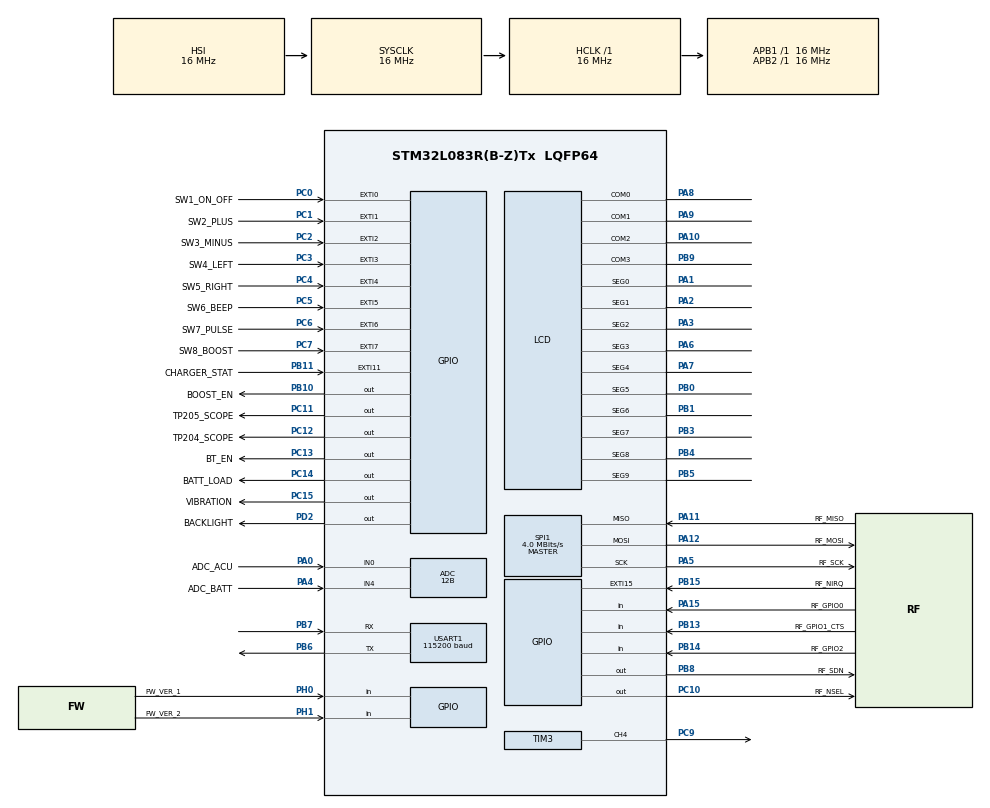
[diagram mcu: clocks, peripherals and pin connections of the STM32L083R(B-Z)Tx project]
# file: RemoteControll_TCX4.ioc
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ADC.ClockPrescaler=ADC_CLOCK_SYNC_PCLK_DIV4
ADC.Resolution=ADC_RESOLUTION_12B
ADC.SamplingTime=ADC_SAMPLETIME_79CYCLES_5
CRC.InputDataInversionMode=CRC_INPUTDATA_INVERSION_BYTE
Dma.ADC.0.Direction=DMA_PERIPH_TO_MEMORY
Dma.ADC.0.Instance=DMA1_Channel1
Dma.ADC.0.MemDataAlignment=DMA_MDATAALIGN_HALFWORD
Dma.ADC.0.MemInc=DMA_MINC_ENABLE
Dma.ADC.0.Mode=DMA_NORMAL
Dma.ADC.0.PeriphDataAlignment=DMA_PDATAALIGN_HALFWORD
Dma.ADC.0.PeriphInc=DMA_PINC_DISABLE
Dma.ADC.0.Priority=DMA_PRIORITY_LOW
Dma.Request0=ADC
Dma.Request1=USART1_RX
Dma.USART1_RX.1.Direction=DMA_PERIPH_TO_MEMORY
Dma.USART1_RX.1.Instance=DMA1_Channel3
Dma.USART1_RX.1.MemDataAlignment=DMA_MDATAALIGN_BYTE
Dma.USART1_RX.1.MemInc=DMA_MINC_ENABLE
Dma.USART1_RX.1.Mode=DMA_CIRCULAR
Dma.USART1_RX.1.PeriphDataAlignment=DMA_PDATAALIGN_BYTE
Dma.USART1_RX.1.PeriphInc=DMA_PINC_DISABLE
Dma.USART1_RX.1.Priority=DMA_PRIORITY_LOW
FREERTOS.Queues01=QueueCore,20,tDataQueue,0,Static,QueueCoreBuffer,QueueCoreControlBlock;QueueRF,20,tDataQueue,0,Static,QueueRFBuffer,QueueRFControlBlock;QueueDisplay,20,tDataQueue,0,Static,QueueDisplayBuffer,QueueDisplayControlBlock
FREERTOS.Tasks01=TaskCore,0,300,StartTaskCore,Default,NULL,Static,TaskCoreBuffer,TaskCoreControlBlock;TaskRF,0,300,StartTaskRF,Default,NULL,Static,TaskRFBuffer,TaskRFControlBlock;TaskDisplay,0,300,StartTaskDisplay,Default,NULL,Static,TaskDisplayBuffer,TaskDisplayControlBlock
FREERTOS.Timers01=TimerLCD,CallbackLCD,osTimerPeriodic,Default,NULL,Static,TimerLCDControlBlock;TimerBacklight,CallbackBacklight,osTimerOnce,As weak,NULL,Static,TimerBacklightControlBlock;TimerStopTX,CallbackStopTX,osTimerOnce,As weak,NULL,Static,TimerStopTXControlBlock;TimerMeasureBatt,CallbackStartMeasureBatt,osTimerOnce,As weak,NULL,Static,TimerMeasureBattControlBlock;TimerLockShock,CallbackLockShock,osTimerOnce,As weak,NULL,Static,TimerLockShockControlBlock;TimerBeep,CallbackBeepEnd,osTimerOnce,As weak,NULL,Static,TimerBeepControlBlock;TimerVibratDuringShock,CallbackVibrationDuringShock,osTimerOnce,As weak,NULL,Static,TimerVibratDuringShockControlBlock;TimerCharger,CallbackChargerTimeout,osTimerOnce,As weak,NULL,Static,TimerChargerControlBlock;TimerChargAnimation,CallbackChargeAnimation,osTimerPeriodic,As weak,NULL,Static,TimerChargAnimationControlBlock;TimerFactoryTest,CallbackFactoryTest,osTimerOnce,As weak,NULL,Static,TimerFactoryTestControlBlock;TimerUartCheck,CallbackUartCheck,osTimerOnce,As weak,NULL,Static,myTimer11ControlBlock;TimerRingHeartBeat,CallbackRingHB,osTimerOnce,As weak,NULL,Static,TimerRingHeartBeatControlBlock;TimerStopTxFromRing,CallbackStopTxFromRing,osTimerOnce,As weak,NULL,Static,TimerStopTxFromRingControlBlock;TimerUnpairring,CallbackUnpairRing,osTimerOnce,As weak,NULL,Static,TimerUnpairringControlBlock;Timer_AscendingMode,CallbackAscendingMode,osTimerOnce,As weak,NULL,Static,Timer_AscendingModeControlBlock;timerChargingCheck,CallbackChargerCheck,osTimerOnce,As weak,NULL,Static,timerChargingCheckControlBlock
FREERTOS.configCHECK_FOR_STACK_OVERFLOW=1
FREERTOS.configMINIMAL_STACK_SIZE=250
FREERTOS.configTIMER_QUEUE_LENGTH=25
FREERTOS.configTIMER_TASK_PRIORITY=6
FREERTOS.configTIMER_TASK_STACK_DEPTH=1024
FREERTOS.configTOTAL_HEAP_SIZE=1536
FREERTOS.configUSE_MALLOC_FAILED_HOOK=1
FREERTOS.configUSE_NEWLIB_REENTRANT=1
FREERTOS.configUSE_TICKLESS_IDLE=1
FREERTOS.configUSE_TIMERS=1
LCD.BlinkMode=LCD_BLINKMODE_OFF
LCD.Contrast=LCD_CONTRASTLEVEL_4
LCD.DeadTime=LCD_DEADTIME_1
LCD.HighDrive=LCD_HIGHDRIVE_1
LCD.Prescaler=LCD_PRESCALER_1
Mcu.Family=STM32L0
Mcu.Name=STM32L083R(B-Z)Tx
Mcu.Package=LQFP64
NVIC.DMA1_Channel1_IRQn=true\:3\:0\:false\:false\:true\:true\:false\:true\:true
NVIC.EXTI0_1_IRQn=true\:3\:0\:false\:false\:true\:true\:true\:true\:true
NVIC.EXTI2_3_IRQn=true\:3\:0\:false\:false\:true\:true\:true\:true\:true
NVIC.EXTI4_15_IRQn=true\:3\:0\:false\:false\:true\:true\:true\:true\:true
NVIC.RTC_IRQn=true\:3\:0\:false\:false\:true\:true\:true\:true\:true
NVIC.TIM22_IRQn=true\:3\:0\:false\:false\:true\:true\:true\:true\:true
NVIC.TIM6_DAC_IRQn=true\:3\:0\:false\:false\:true\:true\:true\:true\:true
NVIC.TIM7_IRQn=true\:3\:0\:false\:false\:true\:true\:true\:true\:true
PA0.GPIO_Label=ADC_ACU
PA0.Mode=IN0
PA0.Signal=ADC_IN0
PA1.Mode=SEG0
PA1.Signal=LCD_SEG0
PA10.Mode=1/4 Duty Cycle
PA10.Signal=LCD_COM2
PA11.GPIO_Label=RF_MISO
PA11.Mode=Full_Duplex_Master
PA11.Signal=SPI1_MISO
PA12.GPIO_Label=RF_MOSI
PA12.Mode=Full_Duplex_Master
PA12.Signal=SPI1_MOSI
PA13.Mode=Serial_Wire
PA13.Signal=SYS_SWDIO
PA14.Mode=Serial_Wire
PA14.Signal=SYS_SWCLK
PA15.GPIO_Label=RF_GPIO0
PA15.GPIO_PuPd=GPIO_PULLUP
PA15.Signal=GPIO_Input
PA2.Mode=SEG1
PA2.Signal=LCD_SEG1
PA3.Mode=SEG2
PA3.Signal=LCD_SEG2
PA4.GPIO_Label=ADC_BATT
PA4.Mode=IN4
PA4.Signal=ADC_IN4
PA5.GPIO_Label=RF_SCK
PA5.Mode=Full_Duplex_Master
PA5.Signal=SPI1_SCK
PA6.Mode=SEG3
PA6.Signal=LCD_SEG3
PA7.Mode=SEG4
PA7.Signal=LCD_SEG4
PA8.Mode=1/4 Duty Cycle
PA8.Signal=LCD_COM0
PA9.Mode=1/4 Duty Cycle
PA9.Signal=LCD_COM1
PB0.Mode=SEG5
PB0.Signal=LCD_SEG5
PB1.Mode=SEG6
PB1.Signal=LCD_SEG6
PB10.GPIO_Label=BOOST_EN
PB10.Signal=GPIO_Output
PB11.GPIO_Label=CHARGER_STAT
PB11.GPIO_ModeDefaultEXTI=GPIO_MODE_IT_RISING_FALLING
PB11.GPIO_PuPd=GPIO_PULLUP
PB11.Signal=GPXTI11
PB13.GPIO_Label=RF_GPIO1_CTS
PB13.GPIO_PuPd=GPIO_PULLUP
PB13.Signal=GPIO_Input
PB14.GPIO_Label=RF_GPIO2
PB14.GPIO_PuPd=GPIO_PULLDOWN
PB14.Signal=GPIO_Input
PB15.GPIO_Label=RF_NIRQ
PB15.GPIO_ModeDefaultEXTI=GPIO_MODE_IT_FALLING
PB15.GPIO_PuPd=GPIO_PULLUP
PB15.Signal=GPXTI15
PB3.Mode=SEG7
PB3.Signal=LCD_SEG7
PB4.Mode=SEG8
PB4.Signal=LCD_SEG8
PB5.Mode=SEG9
PB5.Signal=LCD_SEG9
PB6.GPIO_PuPd=GPIO_NOPULL
PB6.Mode=Asynchronous
PB6.Signal=USART1_TX
PB7.GPIO_PuPd=GPIO_NOPULL
PB7.Mode=Asynchronous
PB7.Signal=USART1_RX
PB8.GPIO_Label=RF_SDN
PB8.GPIO_PuPd=GPIO_PULLDOWN
PB8.Signal=GPIO_Output
PB9.Mode=1/4 Duty Cycle
PB9.Signal=LCD_COM3
PC0.GPIO_Label=SW1_ON_OFF
PC0.GPIO_ModeDefaultEXTI=GPIO_MODE_IT_RISING_FALLING
PC0.GPIO_PuPd=GPIO_PULLUP
PC0.Signal=GPXTI0
PC1.GPIO_Label=SW2_PLUS
PC1.GPIO_ModeDefaultEXTI=GPIO_MODE_IT_RISING_FALLING
PC1.GPIO_PuPd=GPIO_PULLUP
PC1.Signal=GPXTI1
PC10.GPIO_Label=RF_NSEL
PC10.Signal=GPIO_Output
PC11.GPIO_Label=TP205_SCOPE
PC11.Signal=GPIO_Output
PC12.GPIO_Label=TP204_SCOPE
PC12.Signal=GPIO_Output
PC13.GPIO_Label=BT_EN
PC13.Signal=GPIO_Output
PC14-OSC32_IN.GPIO_Label=BATT_LOAD
PC14-OSC32_IN.Signal=GPIO_Output
PC15-OSC32_OUT.GPIO_Label=VIBRATION
PC15-OSC32_OUT.Signal=GPIO_Output
PC2.GPIO_Label=SW3_MINUS
PC2.GPIO_ModeDefaultEXTI=GPIO_MODE_IT_RISING_FALLING
PC2.GPIO_PuPd=GPIO_PULLUP
PC2.Signal=GPXTI2
PC3.GPIO_Label=SW4_LEFT
PC3.GPIO_ModeDefaultEXTI=GPIO_MODE_IT_RISING_FALLING
PC3.GPIO_PuPd=GPIO_PULLUP
PC3.Signal=GPXTI3
PC4.GPIO_Label=SW5_RIGHT
PC4.GPIO_ModeDefaultEXTI=GPIO_MODE_IT_RISING_FALLING
PC4.GPIO_PuPd=GPIO_PULLUP
PC4.Signal=GPXTI4
PC5.GPIO_Label=SW6_BEEP
PC5.GPIO_ModeDefaultEXTI=GPIO_MODE_IT_RISING_FALLING
PC5.GPIO_PuPd=GPIO_PULLUP
PC5.Signal=GPXTI5
PC6.GPIO_Label=SW7_PULSE
PC6.GPIO_ModeDefaultEXTI=GPIO_MODE_IT_RISING_FALLING
PC6.GPIO_PuPd=GPIO_PULLUP
PC6.Signal=GPXTI6
PC7.GPIO_Label=SW8_BOOST
PC7.GPIO_ModeDefaultEXTI=GPIO_MODE_IT_RISING_FALLING
PC7.GPIO_PuPd=GPIO_PULLUP
PC7.Signal=GPXTI7
PC9.Signal=S_TIM3_CH4
PD2.GPIO_Label=BACKLIGHT
PD2.Signal=GPIO_Output
PH0-OSC_IN.GPIO_Label=FW_VER_1
PH0-OSC_IN.Signal=GPIO_Input
PH1-OSC_OUT.GPIO_Label=FW_VER_2
PH1-OSC_OUT.Signal=GPIO_Input
ProjectManager.HeapSize=0x200
ProjectManager.StackSize=0x400
ProjectManager.TargetToolchain=STM32CubeIDE
RCC.AHBFreq_Value=16000000
RCC.APB1Freq_Value=16000000
RCC.APB1TimFreq_Value=16000000
RCC.APB2Freq_Value=16000000
RCC.APB2TimFreq_Value=16000000
RCC.HCLKFreq_Value=16000000
RCC.HSE_VALUE=8000000
RCC.HSI16_VALUE=16000000
RCC.HSI48_VALUE=48000000
RCC.HSI_VALUE=16000000
RCC.LSE_VALUE=32768
RCC.MSIClockRange=RCC_MSIRANGE_6
RCC.MSI_VALUE=4194000
RCC.PLLMUL=RCC_PLLMUL_4
RCC.SYSCLKFreq_VALUE=16000000
RCC.SYSCLKSource=RCC_SYSCLKSOURCE_HSI
RCC.VCOOutputFreq_Value=64000000
RTC.Alarm-Alarm\ A=RTC_ALARM_A
SH.S_TIM3_CH4.0=TIM3_CH4,PWM Generation4 CH4
SPI1.BaudRatePrescaler=SPI_BAUDRATEPRESCALER_4
SPI1.CalculateBaudRate=4.0 MBits/s
SPI1.Direction=SPI_DIRECTION_2LINES
SPI1.Mode=SPI_MODE_MASTER
SPI1.VirtualType=VM_MASTER
TIM22.Period=1
TIM22.Prescaler=16000
TIM3.Channel-PWM\ Generation4\ CH4=TIM_CHANNEL_4
TIM3.Period=1
TIM3.Prescaler=100
TIM3.Pulse-PWM\ Generation4\ CH4=3000
TIM6.Period=30
TIM6.Prescaler=16000
TIM7.Period=50
TIM7.Prescaler=16000
USART1.BaudRate=115200
USART1.VirtualMode-Asynchronous=VM_ASYNC
VP_ADC_TempSens_Input.Mode=IN-TempSens
VP_ADC_Vref_Input.Mode=IN-Vrefint
VP_CRC_VS_CRC.Mode=CRC_Activate
VP_FREERTOS_VS_CMSIS_V1.Mode=CMSIS_V1
VP_LCD_LCD_Bias.Mode=1/4 Bias
VP_RTC_VS_RTC_Activate.Mode=RTC_Enabled
VP_RTC_VS_RTC_Alarm_A_Intern.Mode=Alarm A
VP_RTC_VS_RTC_Calendar.Mode=RTC_Calendar
VP_TIM22_VS_ClockSourceINT.Mode=Internal
VP_TIM6_VS_ClockSourceINT.Mode=Enable_Timer
VP_TIM6_VS_OPM.Mode=OPM_bit
VP_TIM7_VS_ClockSourceINT.Mode=Enable_Timer
VP_WWDG_VS_WWDG.Mode=WWDG_Activate
WWDG.Counter=127
WWDG.EWIMode=WWDG_EWI_DISABLE
WWDG.Prescaler=WWDG_PRESCALER_8
WWDG.Window=127
board=custom

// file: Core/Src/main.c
/* USER CODE BEGIN Header */
/**
  ******************************************************************************
  * @file           : main.c
  * @brief          : Main program body
  ******************************************************************************
  * @attention
  *
  * <h2><center>&copy; Copyright (c) 2021 STMicroelectronics.
  * All rights reserved.</center></h2>
  *
  * This software component is licensed by ST under Ultimate Liberty license
  * SLA0044, the "License"; You may not use this file except in compliance with
  * the License. You may obtain a copy of the License at:
  *                             www.st.com/SLA0044
  *
  ******************************************************************************
  */
/* USER CODE END Header */
#include "main.h"
#include "cmsis_os.h"
#include "adc.h"
#include "crc.h"
#include "dma.h"
#include "lcd.h"
#include "rtc.h"
#include "spi.h"
#include "tim.h"
#include "usart.h"
#include "wwdg.h"
#include "gpio.h"

/* USER CODE BEGIN Includes */
#include "flash.h"
#include "sleepmgr.h"
#include "TaskCore.h"
#include "TaskRF.h"
#include "error_code.h"
#include "DynamicSleep.h"
/* USER CODE END Includes */

void SystemClock_Config(void);
void MX_FREERTOS_Init(void);
/* USER CODE BEGIN PFP */
extern osMessageQId QueueCoreHandle;
/* USER CODE END PFP */

/* USER CODE BEGIN 0 */

void osDelayWatchdog(uint32_t msDelay)
{
	uint32_t tempMod;
	uint32_t tempCount;

	tempMod=msDelay%10;
	tempCount=(uint32_t)(msDelay/10);

	for(uint32_t i=0;i<tempCount;i++)
	{
		osDelay(10);
		RefreshWatchDog();
	}

	osDelay(tempMod);
	RefreshWatchDog();
}

/**
 *
 * @param error
 */
void LogError(uint64_t error)
{

#if (RESET_WHEN_ERROR !=1 )
	taskDISABLE_INTERRUPTS();

	while(1)
	{
		RefreshWatchDog();
	}

#else
	HAL_RCC_DeInit();
	HAL_NVIC_SystemReset();
	while(1);	//pripadne to schodi WD
#endif

}

/**
 *
 */
bool mcuIsLocked(void)
{

#if DEBUG_PRETEND_MCU_IS_LOCKED == 1
	return true;

#else
	FLASH_OBProgramInitTypeDef flashTemp;

	HAL_FLASHEx_OBGetConfig(&flashTemp);
	if(flashTemp.RDPLevel != OB_RDP_LEVEL_0)
	{
		return true;
	}

	return false;
#endif

}

/* USER CODE END 0 */

int main(void)
{

  /* USER CODE BEGIN 1 */

#if (DEBUG_IN_STOP_MODE == 1)
	 LL_APB2_GRP1_EnableClock(LL_APB2_GRP1_PERIPH_DBGMCU);
	 DBGMCU->CR |= DBGMCU_CR_DBG_SLEEP | DBGMCU_CR_DBG_STOP | DBGMCU_CR_DBG_STANDBY;
	 DBGMCU->APB1FZ |= (DBGMCU_APB1_FZ_DBG_TIM2_STOP |
	 DBGMCU_APB1_FZ_DBG_TIM3_STOP) |
	 DBGMCU_APB1_FZ_DBG_TIM6_STOP |
	 DBGMCU_APB1_FZ_DBG_TIM7_STOP |
	 DBGMCU_APB1_FZ_DBG_RTC_STOP  |
	 DBGMCU_APB1_FZ_DBG_WWDG_STOP |
	 DBGMCU_APB1_FZ_DBG_IWDG_STOP |
	 DBGMCU_APB1_FZ_DBG_I2C1_STOP |
	 DBGMCU_APB1_FZ_DBG_I2C2_STOP |
	 DBGMCU_APB1_FZ_DBG_I2C3_STOP |
	DBGMCU_APB1_FZ_DBG_LPTIMER_STOP;

	DBGMCU->APB2FZ |= DBGMCU_APB2_FZ_DBG_TIM22_STOP | DBGMCU_APB2_FZ_DBG_TIM21_STOP;

#endif

	DS_Init();
	(void)DS_RegisterPeripher(DS_PERI_TYPE_TIM,DS_PERI_TIMER_PART_CNT,(uint32_t *)KEYBOARD_TIMER);
	(void)DS_RegisterPeripher(DS_PERI_TYPE_ADC,DS_PERI_ADC_ONGOING,(uint32_t *)SYSTEM_ADC);
	(void)DS_RegisterPeripher(DS_PERI_TYPE_TIM,DS_PERI_TIMER_PART_CNT,(uint32_t *)TIM22);
#if (KEYBOARD_SOUND == 1)
	(void)DS_RegisterPeripher(DS_PERI_TYPE_TIM,DS_PERI_TIMER_PART_PWM,(uint32_t *)TIM3);
#endif

	//DS_RegisterPeripher(DS_PERI_TYPE_TIM,DS_PERI_TIMER_PART_PWM,(uint32_t *)PWM_TIMER);

  /* USER CODE END 1 */

  /* MCU Configuration--------------------------------------------------------*/

  /* Reset of all peripherals, Initializes the Flash interface and the Systick. */
  HAL_Init();

  /* Configure the system clock */
  SystemClock_Config();

  /* Initialize all configured peripherals */
  MX_GPIO_Init();
  MX_DMA_Init();
  MX_ADC_Init();
  MX_CRC_Init();
  MX_LCD_Init();
  MX_SPI1_Init();
  MX_TIM7_Init();
  MX_WWDG_Init();
  MX_RTC_Init();
  MX_TIM6_Init();
  MX_TIM3_Init();
  MX_TIM22_Init();
  MX_USART1_UART_Init();
  /* USER CODE BEGIN 2 */

  FlashOB_Init();

  /* Systick turn of -we use a different timer*/
  SysTick->CTRL&=~ SysTick_CTRL_ENABLE_Msk;

  LL_GPIO_SetOutputPin(BOOST_EN_GPIO_Port,BOOST_EN_Pin);
  LL_GPIO_SetOutputPin(BACKLIGHT_GPIO_Port,BACKLIGHT_Pin);

  /* RF preruseni - zakazat*/
  EXTI_DisableIT_0_31(EXTI_LINE_15);
  /* od nabijecky zakazat */
  EXTI_DisableIT_0_31(EXTI_LINE_11);

  LL_GPIO_ResetOutputPin(BT_EN_GPIO_Port, BT_EN_Pin);
  LL_GPIO_ResetOutputPin(BACKLIGHT_GPIO_Port, BACKLIGHT_Pin);

  /* USER CODE END 2 */

  /* Call init function for freertos objects (in cmsis_os2.c) */
  MX_FREERTOS_Init();

  /* Start scheduler */
  osKernelStart();

  /* We should never get here as control is now taken by the scheduler */

  /* Infinite loop */
  while (1)
  {

  }
}

void SystemClock_Config(void)
{
  RCC_OscInitTypeDef RCC_OscInitStruct = {0};
  RCC_ClkInitTypeDef RCC_ClkInitStruct = {0};
  RCC_PeriphCLKInitTypeDef PeriphClkInit = {0};

  /** Configure the main internal regulator output voltage
  */
  __HAL_PWR_VOLTAGESCALING_CONFIG(PWR_REGULATOR_VOLTAGE_SCALE1);

  /** Initializes the RCC Oscillators according to the specified parameters
  * in the RCC_OscInitTypeDef structure.
  */
  RCC_OscInitStruct.OscillatorType = RCC_OSCILLATORTYPE_HSI|RCC_OSCILLATORTYPE_LSI;
  RCC_OscInitStruct.HSIState = RCC_HSI_ON;
  RCC_OscInitStruct.HSICalibrationValue = RCC_HSICALIBRATION_DEFAULT;
  RCC_OscInitStruct.LSIState = RCC_LSI_ON;
  RCC_OscInitStruct.PLL.PLLState = RCC_PLL_NONE;
  if (HAL_RCC_OscConfig(&RCC_OscInitStruct) != HAL_OK)
  {
    Error_Handler();
  }

  /** Initializes the CPU, AHB and APB buses clocks
  */
  RCC_ClkInitStruct.ClockType = RCC_CLOCKTYPE_HCLK|RCC_CLOCKTYPE_SYSCLK
                              |RCC_CLOCKTYPE_PCLK1|RCC_CLOCKTYPE_PCLK2;
  RCC_ClkInitStruct.SYSCLKSource = RCC_SYSCLKSOURCE_HSI;
  RCC_ClkInitStruct.AHBCLKDivider = RCC_SYSCLK_DIV1;
  RCC_ClkInitStruct.APB1CLKDivider = RCC_HCLK_DIV1;
  RCC_ClkInitStruct.APB2CLKDivider = RCC_HCLK_DIV1;

  if (HAL_RCC_ClockConfig(&RCC_ClkInitStruct, FLASH_LATENCY_0) != HAL_OK)
  {
    Error_Handler();
  }
  PeriphClkInit.PeriphClockSelection = RCC_PERIPHCLK_USART1|RCC_PERIPHCLK_RTC;
  PeriphClkInit.Usart1ClockSelection = RCC_USART1CLKSOURCE_PCLK2;
  PeriphClkInit.RTCClockSelection = RCC_RTCCLKSOURCE_LSI;
  if (HAL_RCCEx_PeriphCLKConfig(&PeriphClkInit) != HAL_OK)
  {
    Error_Handler();
  }
}

/* USER CODE BEGIN 4 */

/**
 *
 * @param GPIO_Pin
 */
void HAL_GPIO_EXTI_Callback(uint16_t GPIO_Pin)
{
	switch (GPIO_Pin)
	{
	case GPIO_PIN_0:
	case GPIO_PIN_1:
	case GPIO_PIN_2:
	case GPIO_PIN_3:
	case GPIO_PIN_4:
	case GPIO_PIN_5:
	case GPIO_PIN_6:
	case GPIO_PIN_7:
		CallbackButtonIRQ(false);
		break;
	case GPIO_PIN_15:
		CallBackRFIRQ();
		break;

	case CHARGER_STAT_Pin:
		CallbackChargerState();
		break;
	default:
		break;
	}
}

/**
 *
 * @param htim
 */
void HAL_TIM_PeriodElapsedCallback(TIM_HandleTypeDef *htim)
{
	tDataQueue sendData;
	sendData.pointer=NULL;
	signed portBASE_TYPE xHigherPriorityTaskWoken;
	xHigherPriorityTaskWoken=pdFALSE;

	if (htim->Instance == TIM2)
	{

	}
	else if(htim->Instance == TIM3)
	{

	}
	else if(htim->Instance == TIM6)
	{
		sendData.address = ADDR_TO_CORE_WATCHDOG_ACTIONS;
		sendData.data = WD_TIME_FOR_WATCHDOG;

		if(xQueueSendFromISR(QueueCoreHandle,&sendData,&xHigherPriorityTaskWoken)!=pdPASS)
		{
			LogError(1289);
		}
		portYIELD_FROM_ISR(xHigherPriorityTaskWoken);
	}
	else if(htim->Instance == TIM7)
	{
		KeyboardTimElapsed(htim);
	}
	else if(htim->Instance == TIM22)
	{
		CallbackChargerEdgeElapsed();
	}
}

/*
 *
 */
void MallocFailed(void)
{
	LogError(5123);
}
/* USER CODE END 4 */

void Error_Handler(void)
{
  /* USER CODE BEGIN Error_Handler_Debug */
  /* User can add his own implementation to report the HAL error return state */
	LogError(65315321);

  /* USER CODE END Error_Handler_Debug */
}

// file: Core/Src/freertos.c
/* USER CODE BEGIN Header */
/**
  ******************************************************************************
  * File Name          : freertos.c
  * Description        : Code for freertos applications
  ******************************************************************************
  * @attention
  *
  * <h2><center>&copy; Copyright (c) 2021 STMicroelectronics.
  * All rights reserved.</center></h2>
  *
  * This software component is licensed by ST under Ultimate Liberty license
  * SLA0044, the "License"; You may not use this file except in compliance with
  * the License. You may obtain a copy of the License at:
  *                             www.st.com/SLA0044
  *
  ******************************************************************************
  */
/* USER CODE END Header */

#include "FreeRTOS.h"
#include "task.h"
#include "main.h"
#include "cmsis_os.h"

/* USER CODE BEGIN Includes */
#include "TaskCore.h"
#include "TaskDisplay.h"
#include "TaskRF.h"
/* USER CODE END Includes */

osThreadId TaskCoreHandle;
uint32_t TaskCoreBuffer[ 300 ];
osStaticThreadDef_t TaskCoreControlBlock;
osThreadId TaskRFHandle;
uint32_t TaskRFBuffer[ 300 ];
osStaticThreadDef_t TaskRFControlBlock;
osThreadId TaskDisplayHandle;
uint32_t TaskDisplayBuffer[ 300 ];
osStaticThreadDef_t TaskDisplayControlBlock;
osMessageQId QueueCoreHandle;
uint8_t QueueCoreBuffer[ 20 * sizeof( tDataQueue ) ];
osStaticMessageQDef_t QueueCoreControlBlock;
osMessageQId QueueRFHandle;
uint8_t QueueRFBuffer[ 20 * sizeof( tDataQueue ) ];
osStaticMessageQDef_t QueueRFControlBlock;
osMessageQId QueueDisplayHandle;
uint8_t QueueDisplayBuffer[ 20 * sizeof( tDataQueue ) ];
osStaticMessageQDef_t QueueDisplayControlBlock;
osTimerId TimerLCDHandle;
osStaticTimerDef_t TimerLCDControlBlock;
osTimerId TimerBacklightHandle;
osStaticTimerDef_t TimerBacklightControlBlock;
osTimerId TimerStopTXHandle;
osStaticTimerDef_t TimerStopTXControlBlock;
osTimerId TimerMeasureBattHandle;
osStaticTimerDef_t TimerMeasureBattControlBlock;
osTimerId TimerLockShockHandle;
osStaticTimerDef_t TimerLockShockControlBlock;
osTimerId TimerBeepHandle;
osStaticTimerDef_t TimerBeepControlBlock;
osTimerId TimerVibratDuringShockHandle;
osStaticTimerDef_t TimerVibratDuringShockControlBlock;
osTimerId TimerChargerHandle;
osStaticTimerDef_t TimerChargerControlBlock;
osTimerId TimerChargAnimationHandle;
osStaticTimerDef_t TimerChargAnimationControlBlock;
osTimerId TimerFactoryTestHandle;
osStaticTimerDef_t TimerFactoryTestControlBlock;
osTimerId TimerUartCheckHandle;
osStaticTimerDef_t myTimer11ControlBlock;
osTimerId TimerRingHeartBeatHandle;
osStaticTimerDef_t TimerRingHeartBeatControlBlock;
osTimerId TimerStopTxFromRingHandle;
osStaticTimerDef_t TimerStopTxFromRingControlBlock;
osTimerId TimerUnpairringHandle;
osStaticTimerDef_t TimerUnpairringControlBlock;
osTimerId Timer_AscendingModeHandle;
osStaticTimerDef_t Timer_AscendingModeControlBlock;
osTimerId timerChargingCheckHandle;
osStaticTimerDef_t timerChargingCheckControlBlock;

void StartTaskCore(void const * argument);
void StartTaskRF(void const * argument);
void StartTaskDisplay(void const * argument);
void CallbackLCD(void const * argument);
void CallbackBacklight(void const * argument);
void CallbackStopTX(void const * argument);
void CallbackStartMeasureBatt(void const * argument);
void CallbackLockShock(void const * argument);
void CallbackBeepEnd(void const * argument);
void CallbackVibrationDuringShock(void const * argument);
void CallbackChargerTimeout(void const * argument);
void CallbackChargeAnimation(void const * argument);
void CallbackFactoryTest(void const * argument);
void CallbackUartCheck(void const * argument);
void CallbackRingHB(void const * argument);
void CallbackStopTxFromRing(void const * argument);
void CallbackUnpairRing(void const * argument);
void CallbackAscendingMode(void const * argument);
void CallbackChargerCheck(void const * argument);

void MX_FREERTOS_Init(void); /* (MISRA C 2004 rule 8.1) */

/* GetIdleTaskMemory prototype (linked to static allocation support) */
void vApplicationGetIdleTaskMemory( StaticTask_t **ppxIdleTaskTCBBuffer, StackType_t **ppxIdleTaskStackBuffer, uint32_t *pulIdleTaskStackSize );

/* GetTimerTaskMemory prototype (linked to static allocation support) */
void vApplicationGetTimerTaskMemory( StaticTask_t **ppxTimerTaskTCBBuffer, StackType_t **ppxTimerTaskStackBuffer, uint32_t *pulTimerTaskStackSize );

/* Hook prototypes */
void vApplicationStackOverflowHook(xTaskHandle xTask, signed char *pcTaskName);
void vApplicationMallocFailedHook(void);

/* USER CODE BEGIN 4 */
__weak void vApplicationStackOverflowHook(xTaskHandle xTask, signed char *pcTaskName)
{
   /* Run time stack overflow checking is performed if
   configCHECK_FOR_STACK_OVERFLOW is defined to 1 or 2. This hook function is
   called if a stack overflow is detected. */
}
/* USER CODE END 4 */

/* USER CODE BEGIN 5 */
__weak void vApplicationMallocFailedHook(void)
{
   /* vApplicationMallocFailedHook() will only be called if
   configUSE_MALLOC_FAILED_HOOK is set to 1 in FreeRTOSConfig.h. It is a hook
   function that will get called if a call to pvPortMalloc() fails.
   pvPortMalloc() is called internally by the kernel whenever a task, queue,
   timer or semaphore is created. It is also called by various parts of the
   demo application. If heap_1.c or heap_2.c are used, then the size of the
   heap available to pvPortMalloc() is defined by configTOTAL_HEAP_SIZE in
   FreeRTOSConfig.h, and the xPortGetFreeHeapSize() API function can be used
   to query the size of free heap space that remains (although it does not
   provide information on how the remaining heap might be fragmented). */
}
/* USER CODE END 5 */

/* USER CODE BEGIN PREPOSTSLEEP */
__weak void PreSleepProcessing(uint32_t *ulExpectedIdleTime)
{
/* place for user code */
}

__weak void PostSleepProcessing(uint32_t *ulExpectedIdleTime)
{
/* place for user code */
}
/* USER CODE END PREPOSTSLEEP */

/* USER CODE BEGIN GET_IDLE_TASK_MEMORY */
static StaticTask_t xIdleTaskTCBBuffer;
static StackType_t xIdleStack[configMINIMAL_STACK_SIZE];

void vApplicationGetIdleTaskMemory( StaticTask_t **ppxIdleTaskTCBBuffer, StackType_t **ppxIdleTaskStackBuffer, uint32_t *pulIdleTaskStackSize )
{
  *ppxIdleTaskTCBBuffer = &xIdleTaskTCBBuffer;
  *ppxIdleTaskStackBuffer = &xIdleStack[0];
  *pulIdleTaskStackSize = configMINIMAL_STACK_SIZE;
  /* place for user code */
}
/* USER CODE END GET_IDLE_TASK_MEMORY */

/* USER CODE BEGIN GET_TIMER_TASK_MEMORY */
static StaticTask_t xTimerTaskTCBBuffer;
static StackType_t xTimerStack[configTIMER_TASK_STACK_DEPTH];

void vApplicationGetTimerTaskMemory( StaticTask_t **ppxTimerTaskTCBBuffer, StackType_t **ppxTimerTaskStackBuffer, uint32_t *pulTimerTaskStackSize )
{
  *ppxTimerTaskTCBBuffer = &xTimerTaskTCBBuffer;
  *ppxTimerTaskStackBuffer = &xTimerStack[0];
  *pulTimerTaskStackSize = configTIMER_TASK_STACK_DEPTH;
  /* place for user code */
}
/* USER CODE END GET_TIMER_TASK_MEMORY */

void MX_FREERTOS_Init(void) {

  /* Create the timer(s) */
  /* definition and creation of TimerLCD */
  osTimerStaticDef(TimerLCD, CallbackLCD, &TimerLCDControlBlock);
  TimerLCDHandle = osTimerCreate(osTimer(TimerLCD), osTimerPeriodic, NULL);

  /* definition and creation of TimerBacklight */
  osTimerStaticDef(TimerBacklight, CallbackBacklight, &TimerBacklightControlBlock);
  TimerBacklightHandle = osTimerCreate(osTimer(TimerBacklight), osTimerOnce, NULL);

  /* definition and creation of TimerStopTX */
  osTimerStaticDef(TimerStopTX, CallbackStopTX, &TimerStopTXControlBlock);
  TimerStopTXHandle = osTimerCreate(osTimer(TimerStopTX), osTimerOnce, NULL);

  /* definition and creation of TimerMeasureBatt */
  osTimerStaticDef(TimerMeasureBatt, CallbackStartMeasureBatt, &TimerMeasureBattControlBlock);
  TimerMeasureBattHandle = osTimerCreate(osTimer(TimerMeasureBatt), osTimerOnce, NULL);

  /* definition and creation of TimerLockShock */
  osTimerStaticDef(TimerLockShock, CallbackLockShock, &TimerLockShockControlBlock);
  TimerLockShockHandle = osTimerCreate(osTimer(TimerLockShock), osTimerOnce, NULL);

  /* definition and creation of TimerBeep */
  osTimerStaticDef(TimerBeep, CallbackBeepEnd, &TimerBeepControlBlock);
  TimerBeepHandle = osTimerCreate(osTimer(TimerBeep), osTimerOnce, NULL);

  /* definition and creation of TimerVibratDuringShock */
  osTimerStaticDef(TimerVibratDuringShock, CallbackVibrationDuringShock, &TimerVibratDuringShockControlBlock);
  TimerVibratDuringShockHandle = osTimerCreate(osTimer(TimerVibratDuringShock), osTimerOnce, NULL);

  /* definition and creation of TimerCharger */
  osTimerStaticDef(TimerCharger, CallbackChargerTimeout, &TimerChargerControlBlock);
  TimerChargerHandle = osTimerCreate(osTimer(TimerCharger), osTimerOnce, NULL);

  /* definition and creation of TimerChargAnimation */
  osTimerStaticDef(TimerChargAnimation, CallbackChargeAnimation, &TimerChargAnimationControlBlock);
  TimerChargAnimationHandle = osTimerCreate(osTimer(TimerChargAnimation), osTimerPeriodic, NULL);

  /* definition and creation of TimerFactoryTest */
  osTimerStaticDef(TimerFactoryTest, CallbackFactoryTest, &TimerFactoryTestControlBlock);
  TimerFactoryTestHandle = osTimerCreate(osTimer(TimerFactoryTest), osTimerOnce, NULL);

  /* definition and creation of TimerUartCheck */
  osTimerStaticDef(TimerUartCheck, CallbackUartCheck, &myTimer11ControlBlock);
  TimerUartCheckHandle = osTimerCreate(osTimer(TimerUartCheck), osTimerOnce, NULL);

  /* definition and creation of TimerRingHeartBeat */
  osTimerStaticDef(TimerRingHeartBeat, CallbackRingHB, &TimerRingHeartBeatControlBlock);
  TimerRingHeartBeatHandle = osTimerCreate(osTimer(TimerRingHeartBeat), osTimerOnce, NULL);

  /* definition and creation of TimerStopTxFromRing */
  osTimerStaticDef(TimerStopTxFromRing, CallbackStopTxFromRing, &TimerStopTxFromRingControlBlock);
  TimerStopTxFromRingHandle = osTimerCreate(osTimer(TimerStopTxFromRing), osTimerOnce, NULL);

  /* definition and creation of TimerUnpairring */
  osTimerStaticDef(TimerUnpairring, CallbackUnpairRing, &TimerUnpairringControlBlock);
  TimerUnpairringHandle = osTimerCreate(osTimer(TimerUnpairring), osTimerOnce, NULL);

  /* definition and creation of Timer_AscendingMode */
  osTimerStaticDef(Timer_AscendingMode, CallbackAscendingMode, &Timer_AscendingModeControlBlock);
  Timer_AscendingModeHandle = osTimerCreate(osTimer(Timer_AscendingMode), osTimerOnce, NULL);

  /* definition and creation of timerChargingCheck */
  osTimerStaticDef(timerChargingCheck, CallbackChargerCheck, &timerChargingCheckControlBlock);
  timerChargingCheckHandle = osTimerCreate(osTimer(timerChargingCheck), osTimerOnce, NULL);

  /* Create the queue(s) */
  /* definition and creation of QueueCore */
  osMessageQStaticDef(QueueCore, 20, tDataQueue, QueueCoreBuffer, &QueueCoreControlBlock);
  QueueCoreHandle = osMessageCreate(osMessageQ(QueueCore), NULL);

  /* definition and creation of QueueRF */
  osMessageQStaticDef(QueueRF, 20, tDataQueue, QueueRFBuffer, &QueueRFControlBlock);
  QueueRFHandle = osMessageCreate(osMessageQ(QueueRF), NULL);

  /* definition and creation of QueueDisplay */
  osMessageQStaticDef(QueueDisplay, 20, tDataQueue, QueueDisplayBuffer, &QueueDisplayControlBlock);
  QueueDisplayHandle = osMessageCreate(osMessageQ(QueueDisplay), NULL);

  /* Create the thread(s) */
  /* definition and creation of TaskCore */
  osThreadStaticDef(TaskCore, StartTaskCore, osPriorityNormal, 0, 300, TaskCoreBuffer, &TaskCoreControlBlock);
  TaskCoreHandle = osThreadCreate(osThread(TaskCore), NULL);

  /* definition and creation of TaskRF */
  osThreadStaticDef(TaskRF, StartTaskRF, osPriorityNormal, 0, 300, TaskRFBuffer, &TaskRFControlBlock);
  TaskRFHandle = osThreadCreate(osThread(TaskRF), NULL);

  /* definition and creation of TaskDisplay */
  osThreadStaticDef(TaskDisplay, StartTaskDisplay, osPriorityNormal, 0, 300, TaskDisplayBuffer, &TaskDisplayControlBlock);
  TaskDisplayHandle = osThreadCreate(osThread(TaskDisplay), NULL);

}

void StartTaskCore(void const * argument)
{
  /* USER CODE BEGIN StartTaskCore */
	TaskCore(argument);
  /* USER CODE END StartTaskCore */
}

void StartTaskRF(void const * argument)
{
  /* USER CODE BEGIN StartTaskRF */
	TaskRF(argument);
  /* USER CODE END StartTaskRF */
}

void StartTaskDisplay(void const * argument)
{
  /* USER CODE BEGIN StartTaskDisplay */
	TaskDisplay(argument);
  /* USER CODE END StartTaskDisplay */
}

/* CallbackLCD function */
void CallbackLCD(void const * argument)
{
  /* USER CODE BEGIN CallbackLCD */
	BlinkingSegment(false);
  /* USER CODE END CallbackLCD */
}

/* CallbackBacklight function */
__weak void CallbackBacklight(void const * argument)
{
}

/* CallbackStopTX function */
__weak void CallbackStopTX(void const * argument)
{
}

/* CallbackStartMeasureBatt function */
__weak void CallbackStartMeasureBatt(void const * argument)
{
}

/* CallbackLockShock function */
__weak void CallbackLockShock(void const * argument)
{
}

/* CallbackBeepEnd function */
__weak void CallbackBeepEnd(void const * argument)
{
}

/* CallbackVibrationDuringShock function */
__weak void CallbackVibrationDuringShock(void const * argument)
{
}

/* CallbackChargerTimeout function */
__weak void CallbackChargerTimeout(void const * argument)
{
}

/* CallbackChargeAnimation function */
__weak void CallbackChargeAnimation(void const * argument)
{
}

/* CallbackFactoryTest function */
__weak void CallbackFactoryTest(void const * argument)
{
}

/* CallbackUartCheck function */
__weak void CallbackUartCheck(void const * argument)
{
}

/* CallbackRingHB function */
__weak void CallbackRingHB(void const * argument)
{
}

/* CallbackStopTxFromRing function */
__weak void CallbackStopTxFromRing(void const * argument)
{
}

/* CallbackUnpairRing function */
__weak void CallbackUnpairRing(void const * argument)
{
}

/* CallbackAscendingMode function */
__weak void CallbackAscendingMode(void const * argument)
{
}

/* CallbackChargerCheck function */
__weak void CallbackChargerCheck(void const * argument)
{
}
